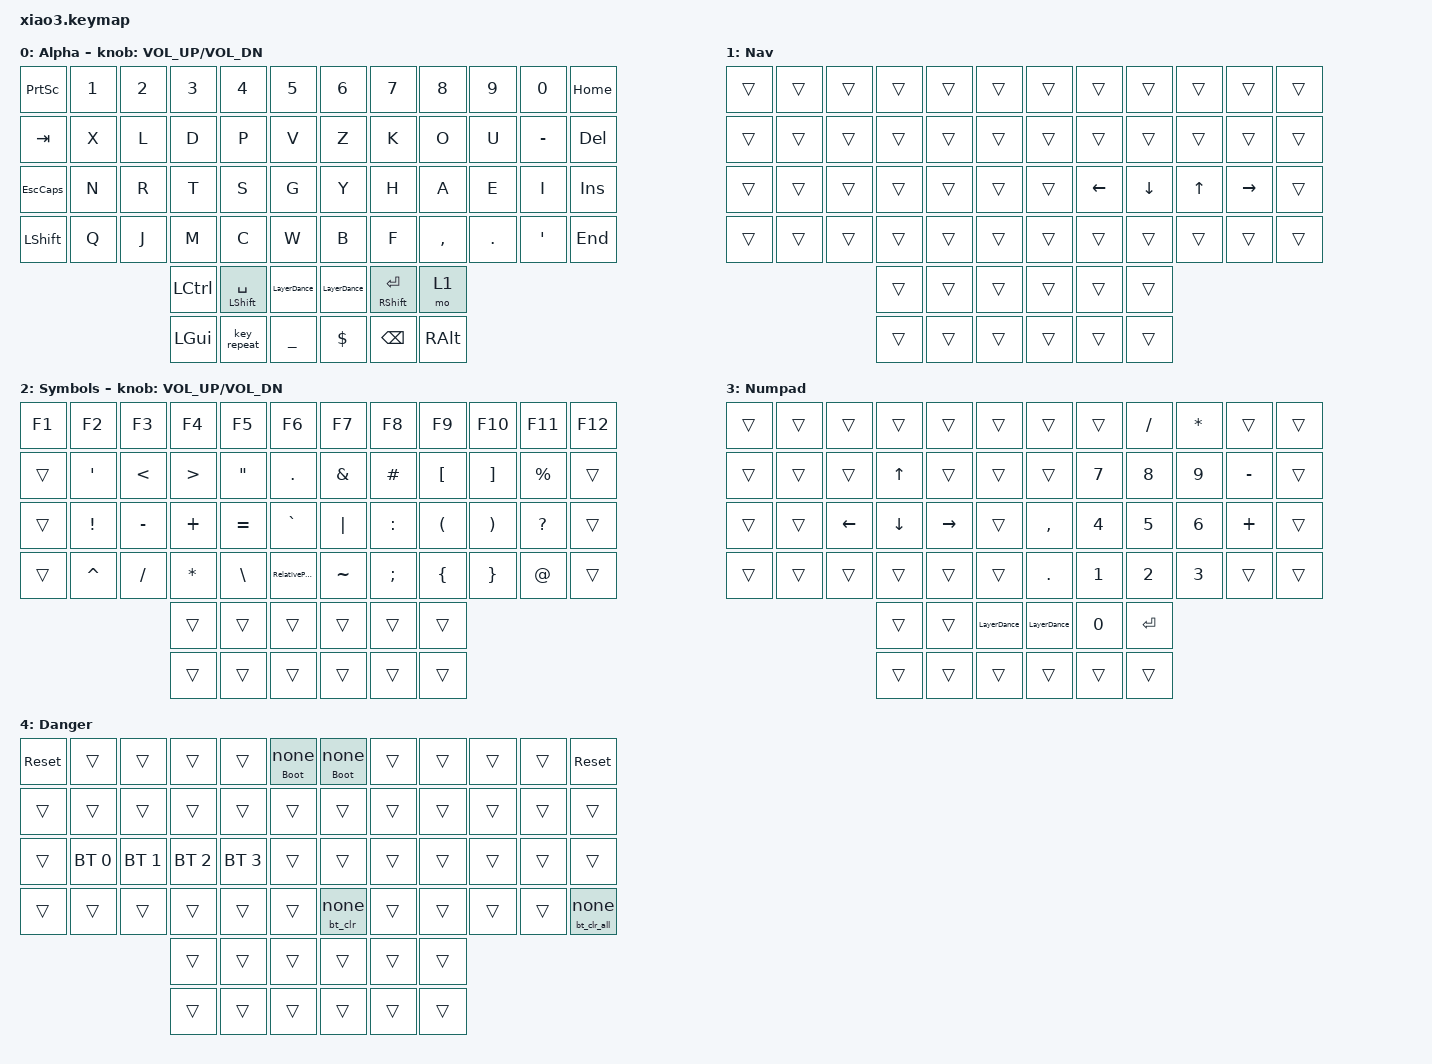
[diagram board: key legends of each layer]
/*
 * Copyright (c) 2020 The ZMK Contributors
 *
 * SPDX-License-Identifier: MIT
 */

#include <dt-bindings/led/led.h>
#include <behaviors/mouse_keys.dtsi>
#include <behaviors.dtsi>
#include <dt-bindings/zmk/bt.h>
#include <dt-bindings/zmk/keys.h>

/ {
    macros {
        RelativeParent: RelativeParent {
            compatible = "zmk,behavior-macro";
            #binding-cells = <0>;
            bindings = <&kp DOT &kp DOT &kp FSLH>;
            label = "RELATIVEPARENT";
        };

        bt_clr: bt_clr {
            compatible = "zmk,behavior-macro";
            #binding-cells = <0>;
            bindings = <&bt BT_CLR>;
            label = "BT_CLR";
        };

        bt_clr_all: bt_clr_all {
            compatible = "zmk,behavior-macro";
            #binding-cells = <0>;
            bindings = <&bt BT_CLR_ALL>;
            label = "BT_CLR_ALL";
        };
    };

    behaviors {
        EscCaps: EscCaps {
            compatible = "zmk,behavior-tap-dance";
            label = "ESCCAPS";
            #binding-cells = <0>;
            bindings = <&kp ESCAPE>, <&caps_word>;

            tapping-term-ms = <150>;
        };

        LayerDance: LayerDance {
            compatible = "zmk,behavior-tap-dance";
            label = "LAYERDANCE";
            #binding-cells = <0>;
            bindings = <&sl 2>, <&tog 3>, <&sl 4>;
        };

        HoldKp: HoldKp {
            compatible = "zmk,behavior-hold-tap";
            label = "HOLDKP";
            bindings = <&kp>, <&kp>;

            #binding-cells = <2>;
            tapping-term-ms = <200>;
            quick-tap-ms = <125>;
            flavor = "balanced";
            retro-tap;
            require-prior-idle-ms = <150>;
        };

        Hold_BT_CLR: Hold_BT_CLR {
            compatible = "zmk,behavior-hold-tap";
            label = "HOLD_BT_CLR";
            bindings = <&bt_clr>, <&none>;

            #binding-cells = <2>;
            tapping-term-ms = <1000>;
            flavor = "tap-preferred";
        };

        Hold_Bootloader: Hold_Bootloader {
            compatible = "zmk,behavior-hold-tap";
            label = "HOLD_BOOTLOADER";
            bindings = <&bootloader>, <&none>;

            #binding-cells = <2>;
            tapping-term-ms = <1000>;
            flavor = "tap-preferred";
        };

        Hold_BT_CLR_ALL: Hold_BT_CLR_ALL {
            compatible = "zmk,behavior-hold-tap";
            label = "HOLD_BT_CLR_ALL";
            bindings = <&bt_clr_all>, <&none>;

            #binding-cells = <2>;
            tapping-term-ms = <1000>;
            flavor = "tap-preferred";
        };
    };

    keymap {
        compatible = "zmk,keymap";

        Alpha {
            bindings = <
&kp PRINTSCREEN  &kp N1  &kp N2  &kp N3        &kp N4                    &kp N5            &kp N6       &kp N7                     &kp N8         &kp N9      &kp N0     &kp HOME
&kp TAB          &kp X   &kp L   &kp D         &kp P                     &kp V             &kp Z        &kp K                      &kp O          &kp U       &kp MINUS  &kp DEL
&EscCaps         &kp N   &kp R   &kp T         &kp S                     &kp G             &kp Y        &kp H                      &kp A          &kp E       &kp I      &kp INSERT
&kp LEFT_SHIFT   &kp Q   &kp J   &kp M         &kp C                     &kp W             &kp B        &kp F                      &kp COMMA      &kp PERIOD  &kp APOS   &kp END
                                 &kp LCTRL     &HoldKp LEFT_SHIFT SPACE  &LayerDance       &LayerDance  &HoldKp RIGHT_SHIFT ENTER  &mo 1
                                 &kp LEFT_GUI  &key_repeat               &kp UNDERSCORE    &kp DOLLAR   &kp BACKSPACE              &kp RIGHT_ALT
            >;

            sensor-bindings = <&inc_dec_kp C_VOL_UP C_VOL_DN>;
        };

        Nav {
            bindings = <
&trans  &trans  &trans  &trans  &trans  &trans    &trans  &trans    &trans    &trans        &trans     &trans
&trans  &trans  &trans  &trans  &trans  &trans    &trans  &trans    &trans    &trans        &trans     &trans
&trans  &trans  &trans  &trans  &trans  &trans    &trans  &kp LEFT  &kp DOWN  &kp UP_ARROW  &kp RIGHT  &trans
&trans  &trans  &trans  &trans  &trans  &trans    &trans  &trans    &trans    &trans        &trans     &trans
                        &trans  &trans  &trans    &trans  &trans    &trans
                        &trans  &trans  &trans    &trans  &trans    &trans
            >;
        };

        Symbols {
            bindings = <
&kp F1  &kp F2            &kp F3         &kp F4            &kp F5             &kp F6             &kp F7         &kp F8         &kp F9                &kp F10                &kp F11       &kp F12
&trans  &kp SINGLE_QUOTE  &kp LESS_THAN  &kp GREATER_THAN  &kp DOUBLE_QUOTES  &kp PERIOD         &kp AMPERSAND  &kp HASH       &kp LEFT_BRACKET      &kp RIGHT_BRACKET      &kp PERCENT   &trans
&trans  &kp EXCLAMATION   &kp MINUS      &kp PLUS          &kp EQUAL          &kp GRAVE          &kp PIPE       &kp COLON      &kp LEFT_PARENTHESIS  &kp RIGHT_PARENTHESIS  &kp QUESTION  &trans
&trans  &kp CARET         &kp SLASH      &kp ASTERISK      &kp BACKSLASH      &RelativeParent    &kp TILDE      &kp SEMICOLON  &kp LEFT_BRACE        &kp RIGHT_BRACE        &kp AT_SIGN   &trans
                                         &trans            &trans             &trans             &trans         &trans         &trans
                                         &trans            &trans             &trans             &trans         &trans         &trans
            >;

            sensor-bindings = <&inc_dec_kp C_VOL_UP C_VOL_DN>;
        };

        Numpad {
            bindings = <
&trans  &trans  &trans    &trans        &trans     &trans         &trans       &trans  &kp SLASH  &kp ASTERISK  &trans     &trans
&trans  &trans  &trans    &kp UP_ARROW  &trans     &trans         &trans       &kp N7  &kp N8     &kp N9        &kp MINUS  &trans
&trans  &trans  &kp LEFT  &kp DOWN      &kp RIGHT  &trans         &kp COMMA    &kp N4  &kp N5     &kp N6        &kp PLUS   &trans
&trans  &trans  &trans    &trans        &trans     &trans         &kp PERIOD   &kp N1  &kp N2     &kp N3        &trans     &trans
                          &trans        &trans     &LayerDance    &LayerDance  &kp N0  &kp ENTER
                          &trans        &trans     &trans         &trans       &trans  &trans
            >;
        };

        Danger {
            bindings = <
&sys_reset  &trans        &trans        &trans        &trans        &Hold_Bootloader 0 0    &Hold_Bootloader 0 0  &trans  &trans  &trans  &trans  &sys_reset
&trans      &trans        &trans        &trans        &trans        &trans                  &trans                &trans  &trans  &trans  &trans  &trans
&trans      &bt BT_SEL 0  &bt BT_SEL 1  &bt BT_SEL 2  &bt BT_SEL 3  &trans                  &trans                &trans  &trans  &trans  &trans  &trans
&trans      &trans        &trans        &trans        &trans        &trans                  &Hold_BT_CLR 0 0      &trans  &trans  &trans  &trans  &Hold_BT_CLR_ALL 0 0
                                        &trans        &trans        &trans                  &trans                &trans  &trans
                                        &trans        &trans        &trans                  &trans                &trans  &trans
            >;
        };
    };

    conditional_layers { compatible = "zmk,conditional-layers"; };
};
